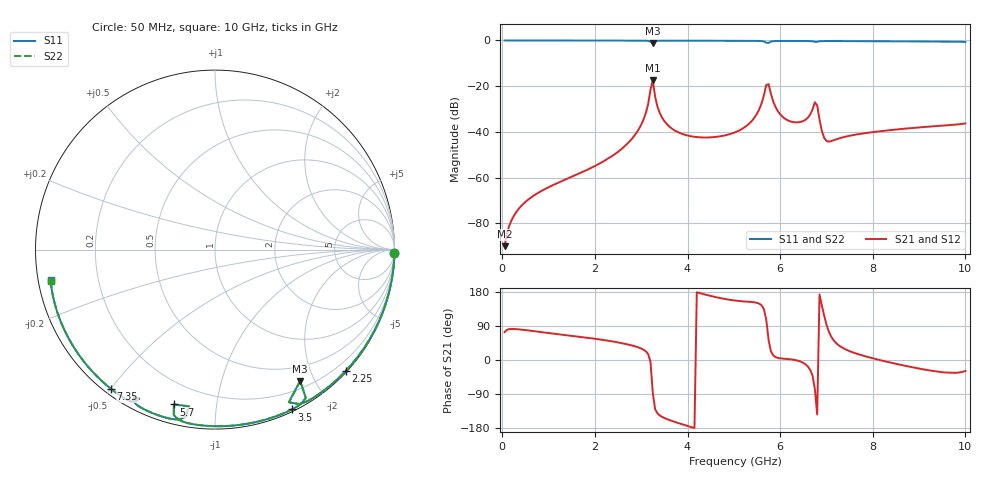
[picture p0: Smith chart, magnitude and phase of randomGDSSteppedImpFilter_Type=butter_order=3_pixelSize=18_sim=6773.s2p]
! freq	dB(S11)	phase(S11)	dB(S12)	phase(S12)
!  dB(S21)	phase(S21)	dB(S22)	phase(S22)
!S-par simulation data
#  GHz  S  DB  R 50
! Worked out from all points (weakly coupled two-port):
!   200 points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, 50 MHz to 10 GHz, reference 50 ohm
!   highest |S21| = -17.50 dB at 3.25 GHz (marker M1); lowest = -90.0 dB at 50 MHz (marker M2)
!   lowest |S11| = -1.2 dB at 3.25 GHz (marker M3), VSWR 14.57, Z = 14.8 - j90.2 ohm
!   |S11| at or under -10 dB: nowhere
!   |S22| runs from -1.2 to 0.0 dB; largest |S21 - S12| = 0
!   S11 on the Smith chart (normalised r, x): 50 MHz: open; 2.25 GHz: 0.02, -2.54; 3.5 GHz: 0.02, -1.59; 5.7 GHz: 0.09, -0.76; 7.35 GHz: 0.02, -0.50; 10 GHz: 0.04, -0.09
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0.05  -0.00 -1.0  -89.98 73.5  -89.98 73.5  -0.00 -1.0
0.7  -0.01 -13.6  -67.58 75.9  -67.58 75.9  -0.01 -13.6
1.75  -0.04 -33.6  -57.34 59.9  -57.34 59.9  -0.04 -33.6
2.25  -0.05 -42.9  -52.04 51.6  -52.04 51.6  -0.05 -42.9
2.95  -0.08 -56.2  -38.71 32.7  -38.71 32.7  -0.08 -56.2
3.1  -0.11 -59.7  -31.74 22.8  -31.74 22.8  -0.11 -59.7
3.25  -1.19 -57.0  -17.50 -86.9  -17.50 -86.9  -1.18 -57.0
3.4  -0.12 -62.1  -31.74 -146.3  -31.74 -146.3  -0.12 -62.0
3.5  -0.10 -64.3  -35.29 -153.1  -35.29 -153.1  -0.10 -64.3
4.15  -0.11 -76.2  -42.16 -179.5  -42.16 -179.5  -0.11 -76.1
5.05  -0.15 -91.5  -39.99 156.5  -39.99 156.5  -0.15 -91.5
5.45  -0.19 -98.7  -33.62 152.0  -33.62 152.0  -0.19 -98.7
5.7  -0.98 -104.9  -19.52 106.7  -19.52 106.7  -0.98 -104.8
6.15  -0.21 -108.0  -34.79 2.7  -34.79 2.7  -0.21 -108.0
6.5  -0.23 -114.1  -35.24 -7.7  -35.24 -7.7  -0.23 -114.1
6.7  -0.36 -118.2  -30.13 -41.8  -30.13 -41.8  -0.36 -118.1
6.8  -0.61 -117.0  -28.41 -143.7  -28.41 -143.7  -0.61 -116.9
6.9  -0.29 -119.0  -39.50 143.9  -39.50 143.9  -0.29 -118.9
7  -0.27 -120.9  -43.95 93.6  -43.95 93.6  -0.27 -120.9
7.35  -0.28 -126.8  -42.39 32.0  -42.39 32.0  -0.28 -126.7
8.35  -0.37 -142.4  -39.28 -5.9  -39.28 -5.9  -0.37 -142.3
10  -0.62 -169.4  -36.28 -29.0  -36.28 -29.0  -0.62 -169.2
